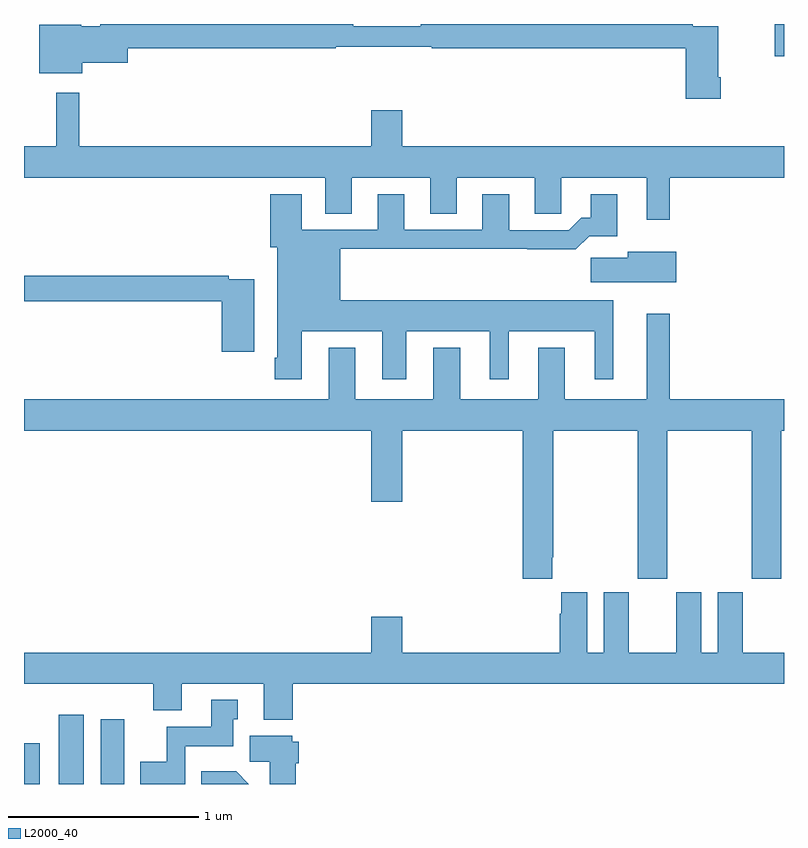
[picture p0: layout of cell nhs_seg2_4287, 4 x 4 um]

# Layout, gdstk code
import gdstk
lib = gdstk.Library(unit=1e-6, precision=1e-09)
def R(c, l, rs):  # rectangles x0, y0, x1, y1
    for r in rs: c.add(gdstk.rectangle(r[:2], r[2:], *l))
def P(c, l, *ps):  # polygons
    for p in ps: c.add(gdstk.Polygon(p, *l))
L2000_40 = (2000, 40)

nhs_seg2_4287 = lib.new_cell('nhs_seg2_4287')
R(nhs_seg2_4287, L2000_40, [(343,621.8,343.084,622.015), (343.184,621.8,343.315,622.165), (343.403,621.8,343.528,622.141), (346.95,625.63,347,625.8)])
P(nhs_seg2_4287, L2000_40, [(346.667,625.519),(346.654,625.519),(346.654,625.788),(346.52,625.788),(346.52,625.8),(345.088,625.8),(345.088,625.789),(344.732,625.789),(344.732,625.8),(343.402,625.8),(343.402,625.789),(343.302,625.789),(343.302,625.795),(343.079,625.795),(343.079,625.541),(343.306,625.541),(343.306,625.595),(343.546,625.595),(343.546,625.672),(344.642,625.672),(344.642,625.68),(345.147,625.68),(345.147,625.672),(346.484,625.672),(346.484,625.407),(346.667,625.407)],
  [(346.399,624.992),(347,624.992),(347,625.156),(344.992,625.156),(344.992,625.345),(344.828,625.345),(344.828,625.156),(343.291,625.156),(343.291,625.438),(343.169,625.438),(343.169,625.156),(343,625.156),(343,624.992),(344.585,624.992),(344.585,624.802),(344.725,624.802),(344.725,624.992),(345.137,624.992),(345.137,624.802),(345.277,624.802),(345.277,624.992),(345.689,624.992),(345.689,624.802),(345.828,624.802),(345.828,624.992),(346.277,624.992),(346.277,624.771),(346.399,624.771)],
  [(344.461,624.182),(344.885,624.182),(344.885,623.931),(345.013,623.931),(345.013,624.182),(345.452,624.182),(345.452,623.931),(345.55,623.931),(345.55,624.182),(346.004,624.182),(346.004,623.931),(346.102,623.931),(346.102,624.346),(344.665,624.346),(344.665,624.616),(345.649,624.616),(345.649,624.614),(345.905,624.614),(345.974,624.683),(346.123,624.683),(346.123,624.904),(345.983,624.904),(345.983,624.781),(345.934,624.781),(345.867,624.714),(345.553,624.714),(345.553,624.904),(345.413,624.904),(345.413,624.717),(345.001,624.717),(345.001,624.904),(344.861,624.904),(344.861,624.717),(344.461,624.717),(344.461,624.904),(344.297,624.904),(344.297,624.624),(344.333,624.624),(344.333,624.043),(344.321,624.043),(344.321,623.931),(344.461,623.931)],
  [(346.432,624.601),(346.178,624.601),(346.178,624.569),(345.984,624.569),(345.984,624.44),(346.432,624.44)],
  [(344.212,624.456),(344.078,624.456),(344.078,624.476),(343,624.476),(343,624.34),(344.042,624.34),(344.042,624.075),(344.212,624.075)],
  [(345.781,622.993),(345.786,622.993),(345.786,623.66),(346.231,623.66),(346.231,622.881),(346.386,622.881),(346.386,623.66),(346.831,623.66),(346.831,622.881),(346.986,622.881),(346.986,623.66),(347,623.66),(347,623.824),(346.399,623.824),(346.399,624.274),(346.277,624.274),(346.277,623.824),(345.847,623.824),(345.847,624.097),(345.707,624.097),(345.707,623.824),(345.295,623.824),(345.295,624.097),(345.155,624.097),(345.155,623.824),(344.743,623.824),(344.743,624.097),(344.603,624.097),(344.603,623.824),(343,623.824),(343,623.66),(344.828,623.66),(344.828,623.286),(344.992,623.286),(344.992,623.66),(345.626,623.66),(345.626,622.881),(345.781,622.881)],
  [(344.414,622.328),(347,622.328),(347,622.492),(346.783,622.492),(346.783,622.81),(346.652,622.81),(346.652,622.492),(346.564,622.492),(346.564,622.81),(346.433,622.81),(346.433,622.492),(346.183,622.492),(346.183,622.81),(346.052,622.81),(346.052,622.492),(345.964,622.492),(345.964,622.81),(345.827,622.81),(345.827,622.697),(345.821,622.697),(345.821,622.492),(344.992,622.492),(344.992,622.681),(344.828,622.681),(344.828,622.492),(343,622.492),(343,622.328),(343.679,622.328),(343.679,622.187),(343.831,622.187),(343.831,622.328),(344.261,622.328),(344.261,622.139),(344.414,622.139)],
  [(343.848,621.998),(344.101,621.998),(344.101,622.14),(344.125,622.14),(344.125,622.243),(343.985,622.243),(343.985,622.102),(343.75,622.102),(343.75,621.916),(343.613,621.916),(343.613,621.8),(343.848,621.8)],
  [(344.429,621.909),(344.447,621.909),(344.447,622.023),(344.412,622.023),(344.412,622.054),(344.189,622.054),(344.189,621.916),(344.294,621.916),(344.294,621.8),(344.429,621.8)],
  [(344.116,621.868),(343.933,621.868),(343.933,621.8),(344.184,621.8)])

lib.write_gds('nhs_seg2_4287.gds')
